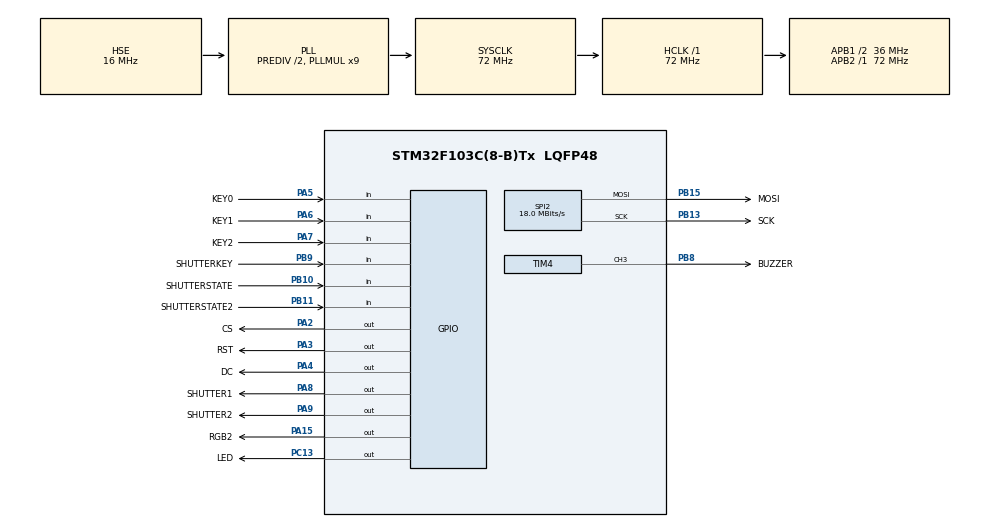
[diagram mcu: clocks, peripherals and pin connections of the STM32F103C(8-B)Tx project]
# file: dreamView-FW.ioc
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Dma.Request0=SPI2_TX
Dma.SPI2_TX.0.Direction=DMA_MEMORY_TO_PERIPH
Dma.SPI2_TX.0.Instance=DMA1_Channel5
Dma.SPI2_TX.0.MemDataAlignment=DMA_MDATAALIGN_BYTE
Dma.SPI2_TX.0.MemInc=DMA_MINC_ENABLE
Dma.SPI2_TX.0.Mode=DMA_NORMAL
Dma.SPI2_TX.0.PeriphDataAlignment=DMA_PDATAALIGN_BYTE
Dma.SPI2_TX.0.PeriphInc=DMA_PINC_DISABLE
Dma.SPI2_TX.0.Priority=DMA_PRIORITY_LOW
Mcu.Family=STM32F1
Mcu.Name=STM32F103C(8-B)Tx
Mcu.Package=LQFP48
NVIC.DMA1_Channel5_IRQn=true\:0\:0\:false\:false\:true\:false\:true
NVIC.PriorityGroup=NVIC_PRIORITYGROUP_4
NVIC.SPI2_IRQn=true\:0\:0\:false\:false\:true\:true\:true
PA13.Mode=Serial_Wire
PA13.Signal=SYS_JTMS-SWDIO
PA14.Mode=Serial_Wire
PA14.Signal=SYS_JTCK-SWCLK
PA15.GPIO_Label=RGB2
PA15.Signal=GPIO_Output
PA2.GPIO_Label=CS
PA2.GPIO_ModeDefaultOutputPP=GPIO_MODE_OUTPUT_PP
PA2.GPIO_PuPd=GPIO_PULLDOWN
PA2.Signal=GPIO_Output
PA3.GPIO_Label=RST
PA3.GPIO_PuPd=GPIO_PULLUP
PA3.GPIO_Speed=GPIO_SPEED_FREQ_HIGH
PA3.PinState=GPIO_PIN_SET
PA3.Signal=GPIO_Output
PA4.GPIO_Label=DC
PA4.GPIO_PuPd=GPIO_PULLUP
PA4.GPIO_Speed=GPIO_SPEED_FREQ_HIGH
PA4.PinState=GPIO_PIN_SET
PA4.Signal=GPIO_Output
PA5.GPIO_Label=KEY0
PA5.GPIO_PuPd=GPIO_PULLUP
PA5.Signal=GPIO_Input
PA6.GPIO_Label=KEY1
PA6.GPIO_PuPd=GPIO_PULLUP
PA6.Signal=GPIO_Input
PA7.GPIO_Label=KEY2
PA7.GPIO_PuPd=GPIO_PULLUP
PA7.Signal=GPIO_Input
PA8.GPIO_Label=SHUTTER1
PA8.GPIO_Speed=GPIO_SPEED_FREQ_MEDIUM
PA8.Signal=GPIO_Output
PA9.GPIO_Label=SHUTTER2
PA9.GPIO_Speed=GPIO_SPEED_FREQ_MEDIUM
PA9.Signal=GPIO_Output
PB10.GPIO_Label=SHUTTERSTATE
PB10.Signal=GPIO_Input
PB11.GPIO_Label=SHUTTERSTATE2
PB11.Signal=GPIO_Input
PB13.GPIO_Label=SCK
PB13.Mode=TX_Only_Simplex_Unidirect_Master
PB13.Signal=SPI2_SCK
PB15.GPIO_Label=MOSI
PB15.Mode=TX_Only_Simplex_Unidirect_Master
PB15.Signal=SPI2_MOSI
PB8.GPIO_Label=BUZZER
PB8.Signal=S_TIM4_CH3
PB9.GPIO_Label=SHUTTERKEY
PB9.GPIO_PuPd=GPIO_PULLUP
PB9.Signal=GPIO_Input
PC13-TAMPER-RTC.GPIO_Label=LED
PC13-TAMPER-RTC.GPIO_PuPd=GPIO_NOPULL
PC13-TAMPER-RTC.Signal=GPIO_Output
PD0-OSC_IN.Mode=HSE-External-Oscillator
PD0-OSC_IN.Signal=RCC_OSC_IN
PD1-OSC_OUT.Mode=HSE-External-Oscillator
PD1-OSC_OUT.Signal=RCC_OSC_OUT
ProjectManager.HeapSize=0x200
ProjectManager.StackSize=0x400
ProjectManager.TargetToolchain=SW4STM32
RCC.AHBFreq_Value=72000000
RCC.APB1CLKDivider=RCC_HCLK_DIV2
RCC.APB1Freq_Value=36000000
RCC.APB1TimFreq_Value=72000000
RCC.APB2Freq_Value=72000000
RCC.APB2TimFreq_Value=72000000
RCC.HCLKFreq_Value=72000000
RCC.HSEDivPLL=RCC_HSE_PREDIV_DIV2
RCC.HSE_VALUE=16000000
RCC.PLLMUL=RCC_PLL_MUL9
RCC.PLLSourceVirtual=RCC_PLLSOURCE_HSE
RCC.SYSCLKFreq_VALUE=72000000
RCC.SYSCLKSource=RCC_SYSCLKSOURCE_PLLCLK
RCC.USBFreq_Value=72000000
SH.S_TIM4_CH3.0=TIM4_CH3,PWM Generation3 CH3
SPI2.BaudRatePrescaler=SPI_BAUDRATEPRESCALER_2
SPI2.CLKPhase=SPI_PHASE_2EDGE
SPI2.CLKPolarity=SPI_POLARITY_HIGH
SPI2.CalculateBaudRate=18.0 MBits/s
SPI2.Direction=SPI_DIRECTION_2LINES
SPI2.Mode=SPI_MODE_MASTER
SPI2.VirtualType=VM_MASTER
TIM4.Channel-PWM\ Generation3\ CH3=TIM_CHANNEL_3
TIM4.Period=499
TIM4.Prescaler=71
board=custom

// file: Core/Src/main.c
/* USER CODE BEGIN Header */
/**
  ******************************************************************************
  * @file           : main.c
  * @brief          : Main program body
  ******************************************************************************
  * @attention
  *
  * Copyright (c) 2023 STMicroelectronics.
  * All rights reserved.
  *
  * This software is licensed under terms that can be found in the LICENSE file
  * in the root directory of this software component.
  * If no LICENSE file comes with this software, it is provided AS-IS.
  *
  ******************************************************************************
  */
/* USER CODE END Header */
#include "main.h"
#include "dma.h"
#include "spi.h"
#include "tim.h"
#include "gpio.h"

/* USER CODE BEGIN Includes */
#include "u8g2.h"
#include "oled_setup_u8g2_fir.h"    //OLED初始�????????????? 包含清屏 u8g2初始化等函数
#include "oled_menu_init_fir.h"   //菜单初始�????????????? 包括菜单各模块的文字�?????????????
#include "oled_menu_proc_fir.h"   //菜单处理
#include "oled_key_fir.h"   //按键扫描 按键初始化等
#include "stm32f1xx_it.h"
#include "shutter_timer_fir.h"
#include "oled_encoder_fir.h"
#include "buzzer_fir.h"
#include "core.h"
/* USER CODE END Includes */

/* USER CODE BEGIN PM */
//u8g2_t u8g2;
/* USER CODE END PM */

void SystemClock_Config(void);

int main(void)
{

  /* MCU Configuration--------------------------------------------------------*/

  /* Reset of all peripherals, Initializes the Flash interface and the Systick. */
  HAL_Init();

  /* Configure the system clock */
  SystemClock_Config();

  /* Initialize all configured peripherals */
  MX_GPIO_Init();
  MX_DMA_Init();
  MX_SPI2_Init();
  MX_TIM4_Init();
  /* USER CODE BEGIN 2 */
//  OLED_Init();
//  OLED_Display_On();
//  OLED_Clear();
//  u8g2Init(&u8g2);
//
//  if (HAL_GPIO_ReadPin(GPIOB, GPIO_PIN_10) == 0)
//  {
//    //如果上电时的状�?�是等待上弦
//    shutter_state_box = shutter_state_box_trg = u8g2_GetStrWidth(&u8g2, "Waiting") * 2 + 20;
//  } else
//  {
//    shutter_state_box = shutter_state_box_trg = u8g2_GetStrWidth(&u8g2, "Ready!") * 2 + 6;
//  }
//
//  HAL_GPIO_WritePin(GPIOA, GPIO_PIN_8 & GPIO_PIN_9, GPIO_PIN_SET);  //快门初始�?????????????
//
//  u8g2_SetFont(&u8g2, u8g2_font_myfont);
//
//  OLED_menu_init();
//  Encoder_Init(0);

  dreamViewKernelStart();
  /* USER CODE END 2 */

  /* Infinite loop */
  while (1)
  {

  }
}

void SystemClock_Config(void)
{
  RCC_OscInitTypeDef RCC_OscInitStruct = {0};
  RCC_ClkInitTypeDef RCC_ClkInitStruct = {0};

  /** Initializes the RCC Oscillators according to the specified parameters
  * in the RCC_OscInitTypeDef structure.
  */
  RCC_OscInitStruct.OscillatorType = RCC_OSCILLATORTYPE_HSE;
  RCC_OscInitStruct.HSEState = RCC_HSE_ON;
  RCC_OscInitStruct.HSEPredivValue = RCC_HSE_PREDIV_DIV2;
  RCC_OscInitStruct.HSIState = RCC_HSI_ON;
  RCC_OscInitStruct.PLL.PLLState = RCC_PLL_ON;
  RCC_OscInitStruct.PLL.PLLSource = RCC_PLLSOURCE_HSE;
  RCC_OscInitStruct.PLL.PLLMUL = RCC_PLL_MUL9;
  if (HAL_RCC_OscConfig(&RCC_OscInitStruct) != HAL_OK)
  {
    Error_Handler();
  }
  /** Initializes the CPU, AHB and APB buses clocks
  */
  RCC_ClkInitStruct.ClockType = RCC_CLOCKTYPE_HCLK|RCC_CLOCKTYPE_SYSCLK
                              |RCC_CLOCKTYPE_PCLK1|RCC_CLOCKTYPE_PCLK2;
  RCC_ClkInitStruct.SYSCLKSource = RCC_SYSCLKSOURCE_PLLCLK;
  RCC_ClkInitStruct.AHBCLKDivider = RCC_SYSCLK_DIV1;
  RCC_ClkInitStruct.APB1CLKDivider = RCC_HCLK_DIV2;
  RCC_ClkInitStruct.APB2CLKDivider = RCC_HCLK_DIV1;

  if (HAL_RCC_ClockConfig(&RCC_ClkInitStruct, FLASH_LATENCY_2) != HAL_OK)
  {
    Error_Handler();
  }
}

/* USER CODE BEGIN 4 */
void drawTestLogo(u8g2_t *u8g2)
{
  u8g2_SetFontMode(u8g2, 1); /*字体模式选择*/
  u8g2_SetFontDirection(u8g2, 0); /*字体方向选择*/
  u8g2_SetFont(u8g2, u8g2_font_inb24_mf); /*字库选择*/
  u8g2_DrawStr(u8g2, 0, 20, "U");

  u8g2_SetFontDirection(u8g2, 1);
  u8g2_SetFont(u8g2, u8g2_font_inb30_mn);
  u8g2_DrawStr(u8g2, 21,8,"8");

  u8g2_SetFontDirection(u8g2, 0);
  u8g2_SetFont(u8g2, u8g2_font_inb24_mf);
  u8g2_DrawStr(u8g2, 51,30,"g");
  u8g2_DrawStr(u8g2, 67,30,"\xb2");

  u8g2_DrawHLine(u8g2, 2, 35, 47);
  u8g2_DrawHLine(u8g2, 3, 36, 47);
  u8g2_DrawVLine(u8g2, 45, 32, 12);
  u8g2_DrawVLine(u8g2, 46, 33, 12);

  u8g2_SetFont(u8g2, u8g2_font_4x6_tr);
  u8g2_DrawStr(u8g2, 1,54,"github.com/olikraus/u8g2");
}
/* USER CODE END 4 */

void Error_Handler(void)
{
    __disable_irq();
    while (1)
    {
    }
}
